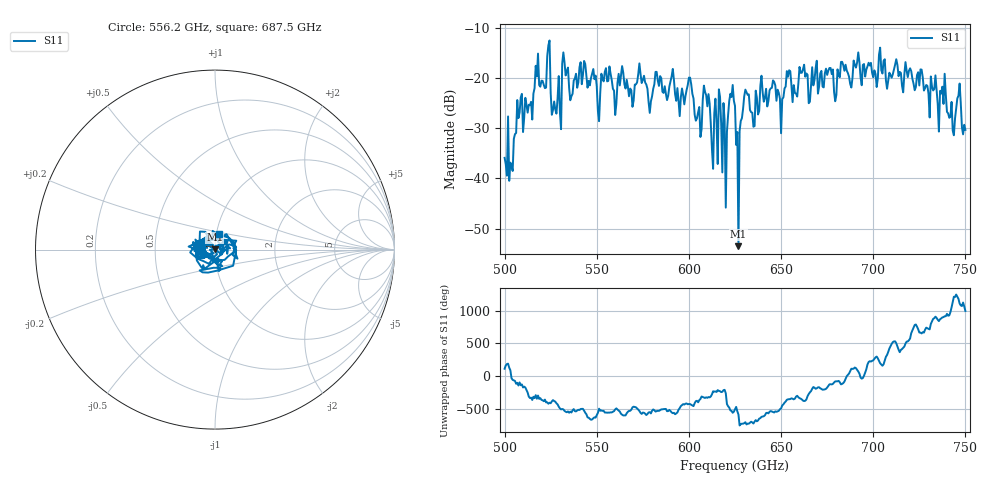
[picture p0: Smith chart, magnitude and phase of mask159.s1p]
!Created with skrf (http://scikit-rf.org).
# GHz S MA R 50.0
!freq magS11 angS11
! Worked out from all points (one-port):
!   401 points, 500 GHz to 750 GHz, reference 50 ohm
!   lowest |S11| = -53.5 dB at 626.9 GHz (marker M1), VSWR 1.00, Z = 49.9 + j0.154 ohm
!   |S11| at or under -10 dB: start of sweep to end of sweep
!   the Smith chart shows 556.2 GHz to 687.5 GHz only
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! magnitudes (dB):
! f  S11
! 500 GHz  -35.9
! 503.8 GHz  -37.5
! 508.1 GHz  -26.9
! 513.8 GHz  -25.5
! 517.5 GHz  -19.7
! 523.8 GHz  -13.5
! 526.9 GHz  -24.7
! 531.2 GHz  -17.2
! 562.5 GHz  -21.5
! 593.8 GHz  -22.0
! 600.6 GHz  -19.9
! 605.6 GHz  -25.8
! 609.4 GHz  -23.5
! 612.5 GHz  -34.2
! 617.5 GHz  -29.1
! 619.4 GHz  -28.5
! 622.5 GHz  -23.2
! 625 GHz  -25.6
! 626.9 GHz  -53.5
! 631.2 GHz  -22.9
! 634.4 GHz  -26.9
! 656.2 GHz  -24.8
! 687.5 GHz  -21.2
! 718.8 GHz  -19.8
! 738.1 GHz  -25.2
! 742.5 GHz  -24.8
! 746.2 GHz  -23.5
! 750 GHz  -30.4
